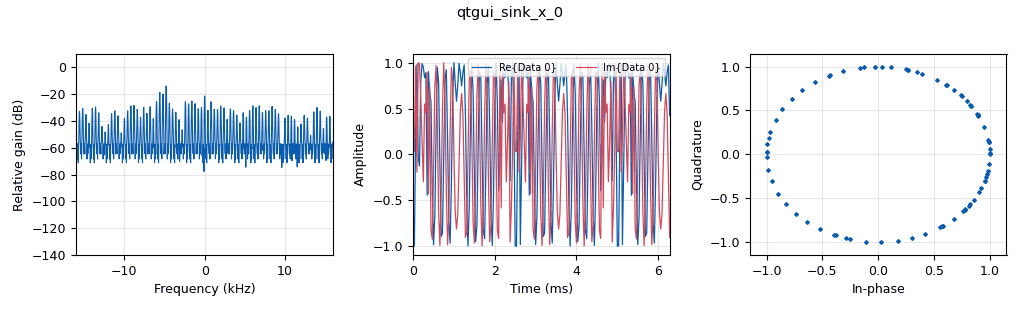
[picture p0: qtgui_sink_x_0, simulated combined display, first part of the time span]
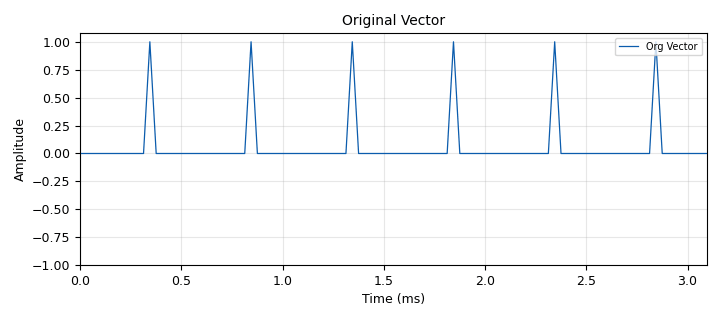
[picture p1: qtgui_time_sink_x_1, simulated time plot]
options:
  parameters:
    generate_options: qt_gui
    id: GFSK1
    output_language: python
    title: GFSK Modulation
  states: {}

blocks:
- name: access_key
  id: variable
  parameters:
    value: '''1100010'''
  states: {}
- name: access_key_format
  id: variable_header_format_default
  parameters:
    access_code: '1100010'
    bps: '1'
    threshold: '0'
  states: {}
- name: delay
  id: variable_qtgui_range
  parameters:
    start: '0'
    step: '1'
    stop: '100'
    value: '0'
  states: {}
- name: samp_rate
  id: variable
  parameters:
    value: 32e3
  states: {}
- name: blocks_packed_to_unpacked_xx_0
  id: blocks_packed_to_unpacked_xx
  parameters:
    bits_per_chunk: '1'
    endianness: gr.GR_MSB_FIRST
    type: byte
  states: {}
- name: blocks_repack_bits_bb_0
  id: blocks_repack_bits_bb
  parameters:
    endianness: gr.GR_LSB_FIRST
    k: '1'
    l: '8'
  states: {state: disabled}
- name: blocks_stream_to_tagged_stream_0
  id: blocks_stream_to_tagged_stream
  parameters:
    len_tag_key: '"packet_len"'
    packet_len: '16'
    type: byte
  states: {}
- name: blocks_tagged_stream_mux_0
  id: blocks_tagged_stream_mux
  parameters:
    lengthtagname: packet_len
    ninputs: '2'
    type: byte
  states: {}
- name: blocks_throttle2_0
  id: blocks_throttle2
  parameters:
    samples_per_second: samp_rate
    type: byte
  states: {}
- name: blocks_uchar_to_float_0
  id: blocks_uchar_to_float
  parameters: {}
  states: {state: disabled}
- name: blocks_uchar_to_float_1
  id: blocks_uchar_to_float
  parameters: {}
  states: {}
- name: blocks_uchar_to_float_1_0
  id: blocks_uchar_to_float
  parameters: {}
  states: {}
- name: blocks_vector_sink_x_0
  id: blocks_vector_sink_x
  parameters:
    type: byte
  states: {}
- name: blocks_vector_source_x_0
  id: blocks_vector_source_x
  parameters:
    repeat: 'True'
    type: byte
    vector: (1,0,1,0)
  states: {}
- name: digital_correlate_access_code_xx_ts_0
  id: digital_correlate_access_code_xx_ts
  parameters:
    access_code: access_key
    tagname: packet_len
    threshold: '0'
    type: byte
  states: {}
- name: digital_gfsk_demod_0
  id: digital_gfsk_demod
  parameters:
    freq_error: '0.0'
    gain_mu: '0.175'
    mu: '0.5'
    omega_relative_limit: '0.005'
    samples_per_symbol: '4'
    sensitivity: '1.0'
  states: {}
- name: digital_gfsk_mod_0
  id: digital_gfsk_mod
  parameters:
    bt: '0.35'
    do_unpack: 'False'
    samples_per_symbol: '4'
    sensitivity: '1.0'
  states: {}
- name: digital_protocol_formatter_bb_0
  id: digital_protocol_formatter_bb
  parameters:
    format: access_key_format
    len_tag_key: '"packet_len"'
  states: {}
- name: qtgui_sink_x_0
  id: qtgui_sink_x
  parameters:
    bw: samp_rate
    fc: '0'
    fftsize: '1024'
    type: complex
  states: {}
- name: qtgui_time_sink_x_0
  id: qtgui_time_sink_x
  parameters:
    autoscale: 'True'
    name: '"Muxed Tagged Stream"'
    size: '100'
    srate: samp_rate
    type: float
  states: {state: disabled}
- name: qtgui_time_sink_x_1
  id: qtgui_time_sink_x
  parameters:
    color1: red
    label1: Org Vector
    name: '"Original Vector"'
    size: '100'
    srate: samp_rate
    type: float
  states: {}
- name: qtgui_time_sink_x_1_0
  id: qtgui_time_sink_x
  parameters:
    label1: RX vector
    name: '"Correlated Received Vector"'
    size: '100'
    srate: samp_rate
    type: float
  states: {}

connections:
- [blocks_packed_to_unpacked_xx_0, '0', blocks_stream_to_tagged_stream_0, '0']
- [blocks_stream_to_tagged_stream_0, '0', blocks_tagged_stream_mux_0, '1']
- [blocks_stream_to_tagged_stream_0, '0', blocks_uchar_to_float_1_0, '0']
- [blocks_stream_to_tagged_stream_0, '0', blocks_vector_sink_x_0, '0']
- [blocks_stream_to_tagged_stream_0, '0', digital_protocol_formatter_bb_0, '0']
- [blocks_tagged_stream_mux_0, '0', blocks_uchar_to_float_0, '0']
- [blocks_tagged_stream_mux_0, '0', digital_gfsk_mod_0, '0']
- [blocks_throttle2_0, '0', blocks_packed_to_unpacked_xx_0, '0']
- [blocks_uchar_to_float_0, '0', qtgui_time_sink_x_0, '0']
- [blocks_uchar_to_float_1, '0', qtgui_time_sink_x_1_0, '0']
- [blocks_uchar_to_float_1_0, '0', qtgui_time_sink_x_1, '0']
- [blocks_vector_source_x_0, '0', blocks_throttle2_0, '0']
- [digital_correlate_access_code_xx_ts_0, '0', blocks_repack_bits_bb_0, '0']
- [digital_correlate_access_code_xx_ts_0, '0', blocks_uchar_to_float_1, '0']
- [digital_gfsk_demod_0, '0', digital_correlate_access_code_xx_ts_0, '0']
- [digital_gfsk_mod_0, '0', digital_gfsk_demod_0, '0']
- [digital_gfsk_mod_0, '0', qtgui_sink_x_0, '0']
- [digital_protocol_formatter_bb_0, '0', blocks_tagged_stream_mux_0, '0']

metadata:
  file_format: 1
  grc_version: 3.10.11.0
